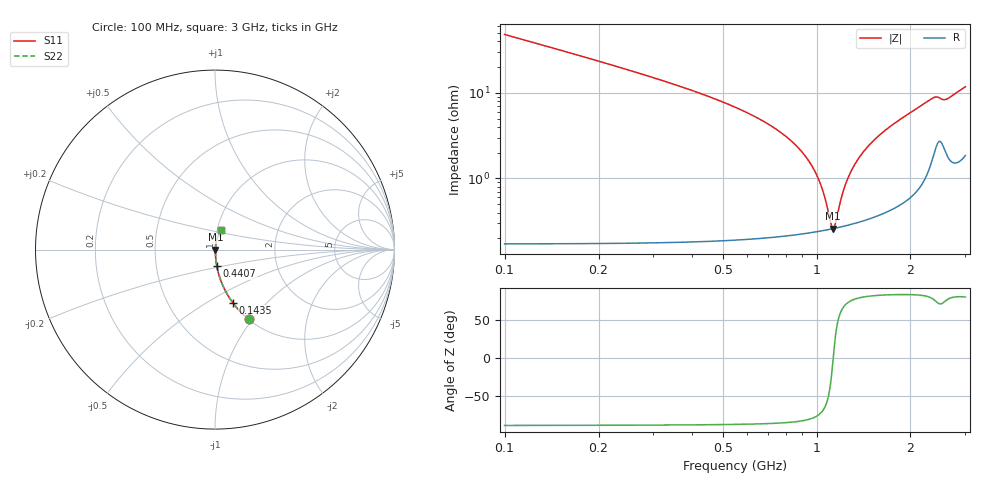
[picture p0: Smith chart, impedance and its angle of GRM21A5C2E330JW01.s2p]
!Murata Part Number: GRM21A5C2E330JW01
!These Parameters are Measured in Series Mode Connection
!Data Generated on Mar 30, 2021
!  o--ll--o
!Port1  Port2
!  o------o
!Operation Temp=25[degC], DC Bias Voltage=0[V]
!Freq. Start=100[MHz] Stop=3[GHz] 401[Steps]
# Hz S RI R 50
!Freq.(Hz) S11(Real) S11(Imag) S21(Real) S21(Imag) S12(Real) S12(Imag) S22(Real) S22(Imag)
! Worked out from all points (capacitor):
!   401 points, 100 MHz to 3 GHz, reference 50 ohm
!   read as one part in series: C = 33 pF near 114.5 MHz
!   lowest |Z| = 259 mohm at 1.129 GHz (marker M1)
!   series resonance near 1.131 GHz, so ESL is about 600 pH
!   S11 on the Smith chart (normalised r, x): 100 MHz: 1.00, -0.96; 143.5 MHz: 1.00, -0.66; 440.8 MHz: 1.00, -0.19; 3 GHz: 1.04, +0.23
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1e8  0.1873 -0.3883  0.8127 0.3883  0.8127 0.3883  0.1873 -0.3883
1.435e8  0.0999 -0.2973  0.9001 0.2973  0.9001 0.2973  0.0999 -0.2973
2.595e8  0.0318 -0.1704  0.9682 0.1704  0.9682 0.1704  0.0318 -0.1704
4.4075e8  0.0104 -0.0921  0.9896 0.0921  0.9896 0.0921  0.0104 -0.0921
5.8575e8  0.00558 -0.0603  0.9944 0.0603  0.9944 0.0603  0.00558 -0.0603
7.815e8  0.00317 -0.0326  0.9968 0.0326  0.9968 0.0326  0.00317 -0.0326
9.12e8  0.00261 -0.0188  0.9974 0.0188  0.9974 0.0188  0.00261 -0.0188
1.00625e9  0.00249 -0.0102  0.9975 0.0102  0.9975 0.0102  0.00249 -0.0102
1.0715e9  0.00251 -0.00472  0.9975 0.00472  0.9975 0.00472  0.00251 -0.00472
1.10775e9  0.00255 -0.00182  0.9974 0.00182  0.9974 0.00182  0.00255 -0.00182
1.1295e9  0.00258 -0.000117  0.9974 0.000117  0.9974 0.000117  0.00258 -0.000117
1.15125e9  0.00263 0.00156  0.9974 -0.00156  0.9974 -0.00156  0.00263 0.00156
1.22375e9  0.00281 0.00695  0.9972 -0.00695  0.9972 -0.00695  0.00281 0.00695
1.289e9  0.00303 0.0116  0.997 -0.0116  0.997 -0.0116  0.00303 0.0116
1.39775e9  0.00351 0.019  0.9965 -0.019  0.9965 -0.019  0.00351 0.019
1.55e9  0.00442 0.0289  0.9956 -0.0289  0.9956 -0.0289  0.00442 0.0289
1.753e9  0.0061 0.0417  0.9939 -0.0417  0.9939 -0.0417  0.0061 0.0417
2.03575e9  0.0099 0.0598  0.9901 -0.0598  0.9901 -0.0598  0.0099 0.0598
2.36925e9  0.0249 0.0818  0.9751 -0.0818  0.9751 -0.0818  0.0249 0.0818
2.5215e9  0.0308 0.0756  0.9692 -0.0756  0.9692 -0.0756  0.0308 0.0756
2.61575e9  0.0248 0.0789  0.9752 -0.0789  0.9752 -0.0789  0.0248 0.0789
3e9  0.0307 0.1106  0.9693 -0.1106  0.9693 -0.1106  0.0307 0.1106
